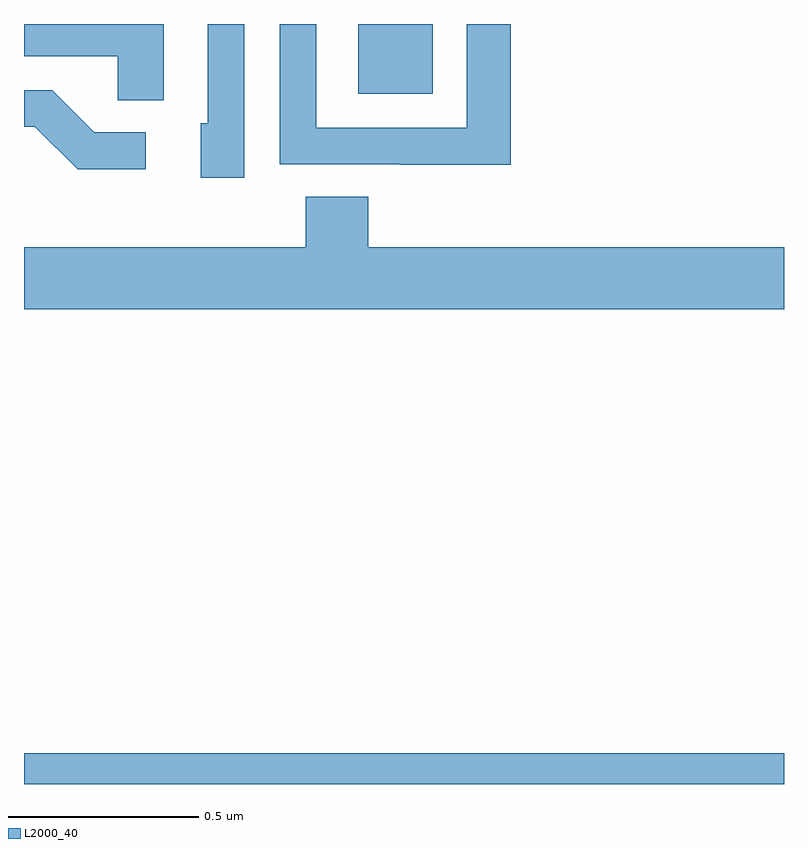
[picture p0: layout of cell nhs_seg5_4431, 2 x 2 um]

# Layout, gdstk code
import gdstk
lib = gdstk.Library(unit=1e-6, precision=1e-09)
def R(c, l, rs):  # rectangles x0, y0, x1, y1
    for r in rs: c.add(gdstk.rectangle(r[:2], r[2:], *l))
def P(c, l, *ps):  # polygons
    for p in ps: c.add(gdstk.Polygon(p, *l))
L2000_40 = (2000, 40)

nhs_seg5_4431 = lib.new_cell('nhs_seg5_4431')
R(nhs_seg5_4431, L2000_40, [(170,900.799,172,900.88), (170.879,902.615,171.076,902.799)])
P(nhs_seg5_4431, L2000_40, [(170.368,902.799),(170,902.799),(170,902.714),(170.247,902.714),(170.247,902.599),(170.368,902.599)],
  [(170.58,902.799),(170.484,902.799),(170.484,902.538),(170.465,902.538),(170.465,902.394),(170.58,902.394)],
  [(171.281,902.799),(171.165,902.799),(171.165,902.526),(170.769,902.526),(170.769,902.799),(170.673,902.799),(170.673,902.43),(170.989,902.43),(170.989,902.429),(171.281,902.429)],
  [(170.32,902.514),(170.185,902.514),(170.074,902.625),(170,902.625),(170,902.529),(170.028,902.529),(170.141,902.417),(170.32,902.417)],
  [(172,902.212),(170.906,902.212),(170.906,902.345),(170.741,902.345),(170.741,902.212),(170,902.212),(170,902.048),(172,902.048)])

lib.write_gds('nhs_seg5_4431.gds')
